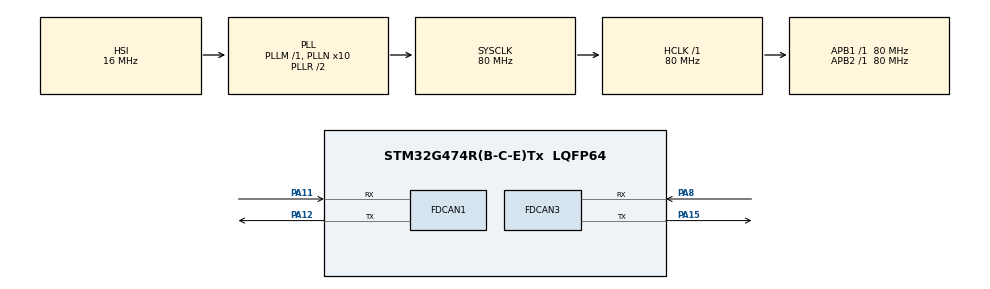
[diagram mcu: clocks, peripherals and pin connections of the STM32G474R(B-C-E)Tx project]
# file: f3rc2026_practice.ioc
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FDCAN1.CalculateBaudRateNominal=1000000
FDCAN1.CalculateTimeBitNominal=1000
FDCAN1.CalculateTimeQuantumNominal=50.0
FDCAN1.DataPrescaler=2
FDCAN1.DataTimeSeg1=15
FDCAN1.DataTimeSeg2=4
FDCAN1.FrameFormat=FDCAN_FRAME_FD_BRS
FDCAN1.NominalPrescaler=4
FDCAN1.NominalTimeSeg1=15
FDCAN1.NominalTimeSeg2=4
FDCAN1.StdFiltersNbr=1
FDCAN3.CalculateBaudRateNominal=1000000
FDCAN3.CalculateTimeBitNominal=1000
FDCAN3.CalculateTimeQuantumNominal=50.0
FDCAN3.DataPrescaler=2
FDCAN3.DataTimeSeg1=15
FDCAN3.DataTimeSeg2=4
FDCAN3.FrameFormat=FDCAN_FRAME_FD_BRS
FDCAN3.NominalPrescaler=4
FDCAN3.NominalTimeSeg1=15
FDCAN3.NominalTimeSeg2=4
FDCAN3.StdFiltersNbr=1
Mcu.Family=STM32G4
Mcu.Name=STM32G474R(B-C-E)Tx
Mcu.Package=LQFP64
NVIC.FDCAN1_IT0_IRQn=true\:0\:0\:false\:false\:true\:true\:true\:true
NVIC.FDCAN1_IT1_IRQn=true\:0\:0\:false\:false\:true\:true\:true\:true
NVIC.FDCAN3_IT0_IRQn=true\:0\:0\:false\:false\:true\:true\:true\:true
NVIC.FDCAN3_IT1_IRQn=true\:0\:0\:false\:false\:true\:true\:true\:true
NVIC.PriorityGroup=NVIC_PRIORITYGROUP_4
NVIC.TIM6_DAC_IRQn=true\:0\:0\:false\:false\:true\:true\:true\:true
PA11.Mode=FDCAN_Activate
PA11.Signal=FDCAN1_RX
PA12.Mode=FDCAN_Activate
PA12.Signal=FDCAN1_TX
PA15.Mode=FDCAN_Activate
PA15.Signal=FDCAN3_TX
PA8.Mode=FDCAN_Activate
PA8.Signal=FDCAN3_RX
ProjectManager.HeapSize=0x200
ProjectManager.StackSize=0x400
ProjectManager.TargetToolchain=CMake
RCC.ADC12Freq_Value=80000000
RCC.ADC345Freq_Value=80000000
RCC.AHBFreq_Value=80000000
RCC.APB1Freq_Value=80000000
RCC.APB1TimFreq_Value=80000000
RCC.APB2Freq_Value=80000000
RCC.APB2TimFreq_Value=80000000
RCC.CortexFreq_Value=80000000
RCC.EXTERNAL_CLOCK_VALUE=12288000
RCC.HCLKFreq_Value=80000000
RCC.HSE_VALUE=8000000
RCC.HSI48_VALUE=48000000
RCC.HSI_VALUE=16000000
RCC.LSE_VALUE=32768
RCC.PLLN=10
RCC.SYSCLKFreq_VALUE=80000000
RCC.SYSCLKSource=RCC_SYSCLKSOURCE_PLLCLK
RCC.USBFreq_Value=80000000
RCC.VCOOutputFreq_Value=160000000
TIM6.PeriodNoDither=999
TIM6.Prescaler=79
VP_SYS_VS_DBSignals.Mode=DisableDeadBatterySignals
VP_TIM6_VS_ClockSourceINT.Mode=Enable_Timer
board=custom

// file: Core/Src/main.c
/* USER CODE BEGIN Header */
/**
  ******************************************************************************
  * @file           : main.c
  * @brief          : Main program body
  ******************************************************************************
  * @attention
  *
  * Copyright (c) 2026 STMicroelectronics.
  * All rights reserved.
  *
  * This software is licensed under terms that can be found in the LICENSE file
  * in the root directory of this software component.
  * If no LICENSE file comes with this software, it is provided AS-IS.
  *
  ******************************************************************************
  */
/* USER CODE END Header */
#include "main.h"

/* USER CODE BEGIN Includes */
#include <stdio.h>
#include <math.h>
/* USER CODE END Includes */

/* USER CODE BEGIN PD */
#define INV_SQRT_2 0.70710678f // √2分の１の定義
#define CAN_ID_YAW 0x103 //IMU基盤からの角度を受け取るCANID
#define CAN_ID_CONTROLLER 0x105 //ESP32からの速度指令を受け取るCANID

#define PI 3.14159265358979323846f
/* USER CODE END PD */

FDCAN_HandleTypeDef hfdcan1;
FDCAN_HandleTypeDef hfdcan3;

TIM_HandleTypeDef htim6;

/* USER CODE BEGIN PV */
//ESP32からの速度指令を受け取るための変数
volatile float Vx = 0.0f;
volatile float Vy = 0.0f;
volatile float omega = 0.0f;

//車体中心からオムニまでの長さ
const float R = 0.35f;

//IMU基盤からの角度を受け取るための変数→sin cosの計算に使う
volatile float yaw_rx = 0.0f;
volatile float sin_yawminus = 0.0f;
volatile float cos_yawminus = 0.0f;
volatile float sin_yawplus = 0.0f;
volatile float cos_yawplus = 0.0f;

// //ESP32からの速度指令を受け取るための箱
// char rxBuf[64];
// volatile uint8_t rxFlag = 0; // 受信完了フラグ
// uint8_t rxChar; // 受信文字
// volatile uint8_t rxIndex = 0; // 受信箱のインデックス

//講習モーターのためのテキストヘッダー
FDCAN_TxHeaderTypeDef TxHeader_motor;
FDCAN_TxHeaderTypeDef TxHeader_IMU;

//モーター変数　反時計回りに右上からABCD
float motor_speed_A = 0.0f;
float motor_speed_B = 0.0f;
float motor_speed_C = 0.0f;
float motor_speed_D = 0.0f;

//電流地
uint8_t TxData[8];

//PID制御のための変数
typedef struct {
  uint16_t CANID;
  float trgVel;
  int16_t actVel;
  int16_t p_actVel;
  float hensa;
  float ind;
  int16_t cu;
} Robomas_t;
Robomas_t robomas[4];

/* USER CODE END PV */

void SystemClock_Config(void);
static void MX_GPIO_Init(void);
static void MX_TIM6_Init(void);
static void MX_FDCAN3_Init(void);
static void MX_FDCAN1_Init(void);
/* USER CODE BEGIN PFP */
void OmniKinematics(void);
void SendMotorCurrent(int16_t current_A, int16_t current_B, int16_t current_C, int16_t current_D);
HAL_StatusTypeDef interboard_comms_CAN_RxTxSettings_init(FDCAN_TxHeaderTypeDef *Htxheader);
void interboard_comms_CAN_filter_init(FDCAN_FilterTypeDef *Hfdcan_Filter_Settings);
void interboard_comms_CAN_txheader_init(FDCAN_TxHeaderTypeDef *Htxheader);
void u8_to_float(uint8_t *req, float *des, uint32_t uint8_len);
/* USER CODE END PFP */

/* USER CODE BEGIN 0 */

// CAN_SEND(0x7FE, TxData, &hfdcan1, &TxHeader); // example usage
HAL_StatusTypeDef CAN_SEND(uint32_t CANID, uint8_t *txdata, FDCAN_HandleTypeDef *hfdcan, FDCAN_TxHeaderTypeDef *htxheader)
{
  htxheader->Identifier = CANID;
  if (HAL_OK != HAL_FDCAN_AddMessageToTxFifoQ(hfdcan, htxheader, txdata))
  {
    printf("addmessage error\r\n");
    return HAL_ERROR;
  }
  return HAL_OK;
}

void motor_CAN_filter_init(FDCAN_FilterTypeDef *Hfdcan_Filter_Settings)
{
  Hfdcan_Filter_Settings->IdType = FDCAN_STANDARD_ID;
  Hfdcan_Filter_Settings->FilterIndex = 0;
  Hfdcan_Filter_Settings->FilterType = FDCAN_FILTER_RANGE;
  Hfdcan_Filter_Settings->FilterConfig = FDCAN_FILTER_TO_RXFIFO0;
  Hfdcan_Filter_Settings->FilterID1 = 0x200;
  Hfdcan_Filter_Settings->FilterID2 = 0x410;
}

void motor_CAN_txheader_init(FDCAN_TxHeaderTypeDef *Htxheader)
{
  Htxheader->Identifier = 0x200;
  Htxheader->IdType = FDCAN_STANDARD_ID;
  Htxheader->TxFrameType = FDCAN_DATA_FRAME;
  Htxheader->DataLength = FDCAN_DLC_BYTES_8;
  Htxheader->ErrorStateIndicator = FDCAN_ESI_ACTIVE;
  Htxheader->FDFormat = FDCAN_CLASSIC_CAN;
  Htxheader->BitRateSwitch = FDCAN_BRS_ON;
  Htxheader->TxEventFifoControl = FDCAN_NO_TX_EVENTS;
  Htxheader->MessageMarker = 0;
}

HAL_StatusTypeDef motor_CAN_RxTxSettings_init(FDCAN_TxHeaderTypeDef *Htxheader)

{
  FDCAN_FilterTypeDef FDCAN_Filter_settings;
  motor_CAN_filter_init(&FDCAN_Filter_settings);
  motor_CAN_txheader_init(Htxheader);
  if (HAL_OK != HAL_FDCAN_ConfigFilter(&hfdcan3, &FDCAN_Filter_settings))
  {
    printf("fdcan_configfilter is error\r\n");
    return HAL_ERROR;
  }
  if (HAL_OK != HAL_FDCAN_ConfigGlobalFilter(&hfdcan3, FDCAN_REJECT, FDCAN_FILTER_REJECT, FDCAN_FILTER_REMOTE, FDCAN_FILTER_REMOTE))
  {
    printf("fdcan_configglobalfilter is error\r\n");
    return HAL_ERROR;
  }
  if (HAL_OK != HAL_FDCAN_Start(&hfdcan3))
  {
    printf("fdcan_start is error\r\n");
    return HAL_ERROR;
  }
  if (HAL_OK != HAL_FDCAN_ActivateNotification(&hfdcan3, FDCAN_IT_RX_FIFO0_NEW_MESSAGE, 0))
  {
    printf("fdcan_activatenotification is error\r\n");
    return HAL_ERROR;
  }

  return HAL_OK;
}

HAL_StatusTypeDef interboard_comms_CAN_RxTxSettings_init(FDCAN_TxHeaderTypeDef *Htxheader)
{
  FDCAN_FilterTypeDef FDCAN_Filter_settings;
  interboard_comms_CAN_filter_init(&FDCAN_Filter_settings);
  interboard_comms_CAN_txheader_init(Htxheader);
  if (HAL_OK != HAL_FDCAN_ConfigFilter(&hfdcan1, &FDCAN_Filter_settings))
  {
    printf("fdcan_configfilter is error\r\n");
    return HAL_ERROR;
  }
  if (HAL_OK != HAL_FDCAN_ConfigGlobalFilter(&hfdcan1, FDCAN_REJECT, FDCAN_FILTER_REJECT, FDCAN_FILTER_REMOTE, FDCAN_FILTER_REMOTE))
  {
    printf("fdcan_configglobalfilter is error\r\n");
    return HAL_ERROR;
  }
  if (HAL_OK != HAL_FDCAN_Start(&hfdcan1))
  {
    printf("fdcan_start is error\r\n");
    return HAL_ERROR;
  }
  if (HAL_OK != HAL_FDCAN_ActivateNotification(&hfdcan1, FDCAN_IT_RX_FIFO1_NEW_MESSAGE, 0))
  {
    printf("fdcan_activatenotification is error\r\n");
    return HAL_ERROR;
  }

  return HAL_OK;
}

void HAL_FDCAN_RxFifo0Callback(FDCAN_HandleTypeDef *hfdcan, uint32_t RxFifo0ITs){
 	if ((RxFifo0ITs & FDCAN_IT_RX_FIFO0_NEW_MESSAGE) != RESET) {

    /* Retrieve Rx messages from RX FIFO0 */
		uint8_t RxData_motor[8] = {};
    FDCAN_RxHeaderTypeDef RxHeader_motor;
 		if (HAL_OK != HAL_FDCAN_GetRxMessage(&hfdcan3, FDCAN_RX_FIFO0, &RxHeader_motor, RxData_motor)) {
 			printf("fdcan_getrxmessage_motor is error\r\n");
 			Error_Handler();
 		}
		/*receive robomas's status*/
 		for (int i=0; i < 4; i++){
 			if (RxHeader_motor.Identifier == (robomas[i].CANID)) {
 				//robomas[i].actangle = (int16_t)((RxData_motor[0] << 8) | RxData_motor[1]);
 				robomas[i].actVel = (int16_t)((RxData_motor[2] << 8) | RxData_motor[3]);
 				//robomas[i].actCurrent = (int16_t)((RxData_motor[4] << 8) | RxData_motor[5]);
 			}
 		}
 	}
}

void HAL_FDCAN_RxFifo1Callback(FDCAN_HandleTypeDef *hfdcan,
                               uint32_t RxFifo1ITs)
{
    if (RxFifo1ITs & FDCAN_IT_RX_FIFO1_NEW_MESSAGE)
    {
        uint8_t RxData[64];
        FDCAN_RxHeaderTypeDef RxHeader;
        if (HAL_FDCAN_GetRxMessage(
                hfdcan,
                FDCAN_RX_FIFO1,
                &RxHeader,
                RxData) != HAL_OK)
        {
            Error_Handler();
        }
        switch (RxHeader.Identifier)
        {
            case CAN_ID_YAW:
            {
                u8_to_float(RxData, (float*)&yaw_rx, 4);
                // yaw_rxに受信値が入る
                yaw_rx = yaw_rx * (PI / 180.0f); // 角度をラジアンに変換
                sin_yawplus = sinf(yaw_rx+PI/4.0f);
                sin_yawminus = sinf(yaw_rx-PI/4.0f);
                cos_yawplus = cosf(yaw_rx+PI/4.0f);
                cos_yawminus = cosf(yaw_rx-PI/4.0f);
                break;
            }
            case CAN_ID_CONTROLLER:
            {
                // 速度指令を受信した場合の処理
                Vx = ((int8_t)RxData[0]) / 128.0f;
                Vy = ((int8_t)RxData[1]) / 128.0f;
                omega = ((int8_t)RxData[2]) / 128.0f;

                break;
            }
            default:
                break;
        }
    }
}

void HAL_TIM_PeriodElapsedCallback(TIM_HandleTypeDef *htim){

	if (&htim6 == htim) {
		float k_p = 7, k_i = 0.5, k_d = 0.1;
		for (int i = 0; i < 4; i++){
			robomas[i].hensa = robomas[i].trgVel - robomas[i].actVel;
			if (robomas[i].hensa >= 1000) robomas[i].hensa = 1000;
			else if (robomas[i].hensa <= -1000) robomas[i].hensa = -1000;
			float d = (robomas[i].p_actVel - robomas[i].actVel) / 0.001f;
			robomas[i].ind += robomas[i].hensa*0.001f;
			if (d >= 30000) d = 30000;
			else if (d <= -30000) d = -30000;
			if (robomas[i].ind >= 10000) robomas[i].ind = 10000;
			else if (robomas[i].ind <= -10000) robomas[i].ind = -10000;

			float t = k_p*robomas[i].hensa;
			if (t>=10000) t = 10000;
			else if (t<=-10000) t = -10000;
			robomas[i].cu = (int16_t)(t+k_i*robomas[i].ind+k_d*d);
			if (robomas[i].cu <= -10000) robomas[i].cu = -10000;
			else if (robomas[i].cu >= 10000) robomas[i].cu = 10000;

			robomas[i].p_actVel = robomas[i].actVel;

		}
    SendMotorCurrent(robomas[0].cu, robomas[1].cu, robomas[2].cu, robomas[3].cu);
	}
}
/* USER CODE END 0 */

int main(void)
{

  /* MCU Configuration--------------------------------------------------------*/

  /* Reset of all peripherals, Initializes the Flash interface and the Systick. */
  HAL_Init();

  /* Configure the system clock */
  SystemClock_Config();

  /* Initialize all configured peripherals */
  MX_GPIO_Init();
  MX_TIM6_Init();
  MX_FDCAN3_Init();
  MX_FDCAN1_Init();
  /* USER CODE BEGIN 2 */
  HAL_TIM_Base_Start_IT(&htim6); // Start TIM6 in interrupt mode
  //講習にて導入
  __HAL_RCC_CLEAR_RESET_FLAGS(); // Clear reset flags
  if (HAL_OK != motor_CAN_RxTxSettings_init(&TxHeader_motor)) Error_Handler();
  if (HAL_OK != interboard_comms_CAN_RxTxSettings_init(&TxHeader_IMU)) Error_Handler();
  //モーターのCANIDを設定
  robomas[0].CANID = 0x201;
  robomas[1].CANID = 0x202;
  robomas[2].CANID = 0x203;
  robomas[3].CANID = 0x204;
  //一応初期化
  for (int i = 0; i < 4; i++){
    robomas[i].trgVel = 0;
    robomas[i].actVel = 0;
    robomas[i].p_actVel = 0;
    robomas[i].hensa = 0;
    robomas[i].ind = 0;
    robomas[i].cu = 0;
  }

  /* USER CODE END 2 */

  /* Infinite loop */
  /* USER CODE BEGIN WHILE */
  while (1)
  {
  // Vx = 0.0f;
  // Vy = 0.0f;
  // omega = 1.0f;

  // sin_yawplus = sinf(0+PI/4.0f);
  // sin_yawminus = sinf(0-PI/4.0f);
  // cos_yawplus = cosf(0+PI/4.0f);
  // cos_yawminus = cosf(0-PI/4.0f);
    /*uint8_t txdata[8] = {0 ,1 ,2,3,4,5,6,7}; // Example data to send
    int16_t cu = 842; // Example current value
    txdata[0] = (uint8_t)(cu >> 8);
    txdata[1] = (uint8_t)(cu & 0xFF);
    txdata[2] = (uint8_t)(cu >> 8);
    txdata[3] = (uint8_t)(cu & 0xFF);
    txdata[4] = (uint8_t)(cu >> 8);
    txdata[5] = (uint8_t)(cu & 0xFF);
    txdata[6] = (uint8_t)(cu >> 8);
    txdata[7] = (uint8_t)(cu & 0xFF);
    CAN_SEND(0x200, txdata, &hfdcan3, &TxHeader_motor); // Send CAN message
    HAL_Delay(100);
    */
   OmniKinematics();
   HAL_Delay(100);

    /* USER CODE END WHILE */

  }
}

void SystemClock_Config(void)
{
  RCC_OscInitTypeDef RCC_OscInitStruct = {0};
  RCC_ClkInitTypeDef RCC_ClkInitStruct = {0};

  /** Configure the main internal regulator output voltage
  */
  HAL_PWREx_ControlVoltageScaling(PWR_REGULATOR_VOLTAGE_SCALE1);

  /** Initializes the RCC Oscillators according to the specified parameters
  * in the RCC_OscInitTypeDef structure.
  */
  RCC_OscInitStruct.OscillatorType = RCC_OSCILLATORTYPE_HSI;
  RCC_OscInitStruct.HSIState = RCC_HSI_ON;
  RCC_OscInitStruct.HSICalibrationValue = RCC_HSICALIBRATION_DEFAULT;
  RCC_OscInitStruct.PLL.PLLState = RCC_PLL_ON;
  RCC_OscInitStruct.PLL.PLLSource = RCC_PLLSOURCE_HSI;
  RCC_OscInitStruct.PLL.PLLM = RCC_PLLM_DIV1;
  RCC_OscInitStruct.PLL.PLLN = 10;
  RCC_OscInitStruct.PLL.PLLP = RCC_PLLP_DIV2;
  RCC_OscInitStruct.PLL.PLLQ = RCC_PLLQ_DIV2;
  RCC_OscInitStruct.PLL.PLLR = RCC_PLLR_DIV2;
  if (HAL_RCC_OscConfig(&RCC_OscInitStruct) != HAL_OK)
  {
    Error_Handler();
  }

  /** Initializes the CPU, AHB and APB buses clocks
  */
  RCC_ClkInitStruct.ClockType = RCC_CLOCKTYPE_HCLK|RCC_CLOCKTYPE_SYSCLK
                              |RCC_CLOCKTYPE_PCLK1|RCC_CLOCKTYPE_PCLK2;
  RCC_ClkInitStruct.SYSCLKSource = RCC_SYSCLKSOURCE_PLLCLK;
  RCC_ClkInitStruct.AHBCLKDivider = RCC_SYSCLK_DIV1;
  RCC_ClkInitStruct.APB1CLKDivider = RCC_HCLK_DIV1;
  RCC_ClkInitStruct.APB2CLKDivider = RCC_HCLK_DIV1;

  if (HAL_RCC_ClockConfig(&RCC_ClkInitStruct, FLASH_LATENCY_2) != HAL_OK)
  {
    Error_Handler();
  }
}

static void MX_FDCAN1_Init(void)
{

  hfdcan1.Instance = FDCAN1;
  hfdcan1.Init.ClockDivider = FDCAN_CLOCK_DIV1;
  hfdcan1.Init.FrameFormat = FDCAN_FRAME_FD_BRS;
  hfdcan1.Init.Mode = FDCAN_MODE_NORMAL;
  hfdcan1.Init.AutoRetransmission = DISABLE;
  hfdcan1.Init.TransmitPause = DISABLE;
  hfdcan1.Init.ProtocolException = DISABLE;
  hfdcan1.Init.NominalPrescaler = 4;
  hfdcan1.Init.NominalSyncJumpWidth = 1;
  hfdcan1.Init.NominalTimeSeg1 = 15;
  hfdcan1.Init.NominalTimeSeg2 = 4;
  hfdcan1.Init.DataPrescaler = 2;
  hfdcan1.Init.DataSyncJumpWidth = 1;
  hfdcan1.Init.DataTimeSeg1 = 15;
  hfdcan1.Init.DataTimeSeg2 = 4;
  hfdcan1.Init.StdFiltersNbr = 1;
  hfdcan1.Init.ExtFiltersNbr = 0;
  hfdcan1.Init.TxFifoQueueMode = FDCAN_TX_FIFO_OPERATION;
  if (HAL_FDCAN_Init(&hfdcan1) != HAL_OK)
  {
    Error_Handler();
  }

}

static void MX_FDCAN3_Init(void)
{

  hfdcan3.Instance = FDCAN3;
  hfdcan3.Init.ClockDivider = FDCAN_CLOCK_DIV1;
  hfdcan3.Init.FrameFormat = FDCAN_FRAME_FD_BRS;
  hfdcan3.Init.Mode = FDCAN_MODE_NORMAL;
  hfdcan3.Init.AutoRetransmission = DISABLE;
  hfdcan3.Init.TransmitPause = DISABLE;
  hfdcan3.Init.ProtocolException = DISABLE;
  hfdcan3.Init.NominalPrescaler = 4;
  hfdcan3.Init.NominalSyncJumpWidth = 1;
  hfdcan3.Init.NominalTimeSeg1 = 15;
  hfdcan3.Init.NominalTimeSeg2 = 4;
  hfdcan3.Init.DataPrescaler = 2;
  hfdcan3.Init.DataSyncJumpWidth = 1;
  hfdcan3.Init.DataTimeSeg1 = 15;
  hfdcan3.Init.DataTimeSeg2 = 4;
  hfdcan3.Init.StdFiltersNbr = 1;
  hfdcan3.Init.ExtFiltersNbr = 0;
  hfdcan3.Init.TxFifoQueueMode = FDCAN_TX_FIFO_OPERATION;
  if (HAL_FDCAN_Init(&hfdcan3) != HAL_OK)
  {
    Error_Handler();
  }

}

static void MX_TIM6_Init(void)
{

  TIM_MasterConfigTypeDef sMasterConfig = {0};

  htim6.Instance = TIM6;
  htim6.Init.Prescaler = 79;
  htim6.Init.CounterMode = TIM_COUNTERMODE_UP;
  htim6.Init.Period = 999;
  htim6.Init.AutoReloadPreload = TIM_AUTORELOAD_PRELOAD_DISABLE;
  if (HAL_TIM_Base_Init(&htim6) != HAL_OK)
  {
    Error_Handler();
  }
  sMasterConfig.MasterOutputTrigger = TIM_TRGO_RESET;
  sMasterConfig.MasterSlaveMode = TIM_MASTERSLAVEMODE_DISABLE;
  if (HAL_TIMEx_MasterConfigSynchronization(&htim6, &sMasterConfig) != HAL_OK)
  {
    Error_Handler();
  }

}

static void MX_GPIO_Init(void)
{

  /* GPIO Ports Clock Enable */
  __HAL_RCC_GPIOA_CLK_ENABLE();

}

/* USER CODE BEGIN 4 */

//運動学オムニ
void OmniKinematics(void){
  motor_speed_A = sin_yawplus * Vx - cos_yawplus * Vy - omega * R;
  motor_speed_B = - sin_yawminus * Vx + cos_yawminus * Vy - omega * R;
  motor_speed_C = - sin_yawplus * Vx + cos_yawplus * Vy - omega * R;
  motor_speed_D = sin_yawminus * Vx - cos_yawminus * Vy - omega * R;
  //正規化
  float max_speed = fabsf(motor_speed_A);
  if (fabsf(motor_speed_B) > max_speed) {max_speed = fabsf(motor_speed_B);}
  if (fabsf(motor_speed_C) > max_speed) {max_speed = fabsf(motor_speed_C);}
  if (fabsf(motor_speed_D) > max_speed) {max_speed = fabsf(motor_speed_D);}
  if (max_speed > 1.0f) {
    motor_speed_A /= max_speed;
    motor_speed_B /= max_speed;
    motor_speed_C /= max_speed;
    motor_speed_D /= max_speed;
  }
  //PIDにtrgVelを渡す
  robomas[0].trgVel = motor_speed_A*3000;
  robomas[1].trgVel = motor_speed_B*3000;
  robomas[2].trgVel = motor_speed_C*3000;
  robomas[3].trgVel = motor_speed_D*3000;
}

// //ESP32からの速度指令を受け取るためのUART割り込みコールバック関数
// void HAL_UART_RxCpltCallback(UART_HandleTypeDef *huart) {
//   if (huart->Instance == USART2) { // Check if the interrupt is from USART2
//     if (rxChar == '\n') { // Check for newline character
//       rxBuf[rxIndex] = '\0'; // Null-terminate the string
//       rxFlag = 1; // Set the flag to indicate a complete command has been received
//       rxIndex = 0; // Reset index for next command
//     } else {
//       rxBuf[rxIndex++] = rxChar; // Store received character and increment index

//       if (rxIndex >= sizeof(rxBuf) - 1) { // Prevent buffer overflow
//         rxIndex = 0; // Reset index if buffer is full
//       }
//     }
//     HAL_UART_Receive_IT(&huart2, &rxChar, 1); // Restart UART reception in interrupt mode
//   }
// }

//電流値の送信関数
void SendMotorCurrent(
    int16_t current_A,
    int16_t current_B,
    int16_t current_C,
    int16_t current_D)
{
    TxData[0] = (current_A >> 8) & 0xFF;
    TxData[1] = current_A & 0xFF;

    TxData[2] = (current_B >> 8) & 0xFF;
    TxData[3] = current_B & 0xFF;

    TxData[4] = (current_C >> 8) & 0xFF;
    TxData[5] = current_C & 0xFF;

    TxData[6] = (current_D >> 8) & 0xFF;
    TxData[7] = current_D & 0xFF;

    CAN_SEND(
        0x200,
        TxData,
        &hfdcan3,
        &TxHeader_motor
    );
}

void interboard_comms_CAN_filter_init(FDCAN_FilterTypeDef *Hfdcan_Filter_Settings)
{
  Hfdcan_Filter_Settings->IdType = FDCAN_STANDARD_ID;
  Hfdcan_Filter_Settings->FilterIndex = 0;
  Hfdcan_Filter_Settings->FilterType = FDCAN_FILTER_RANGE;
  Hfdcan_Filter_Settings->FilterConfig = FDCAN_FILTER_TO_RXFIFO1;
  Hfdcan_Filter_Settings->FilterID1 = 0x00;
  Hfdcan_Filter_Settings->FilterID2 = 0x7ff;
}

void interboard_comms_CAN_txheader_init(FDCAN_TxHeaderTypeDef *Htxheader)
{
  Htxheader->Identifier = 0x00;
  Htxheader->IdType = FDCAN_STANDARD_ID;
  Htxheader->TxFrameType = FDCAN_DATA_FRAME;
  Htxheader->DataLength = FDCAN_DLC_BYTES_8;
  Htxheader->ErrorStateIndicator = FDCAN_ESI_ACTIVE;
  Htxheader->FDFormat = FDCAN_FD_CAN;
  Htxheader->BitRateSwitch = FDCAN_BRS_ON;
  Htxheader->TxEventFifoControl = FDCAN_NO_TX_EVENTS;
  Htxheader->MessageMarker = 0;
}

//受信用
void u8_to_float(uint8_t *req, float *des, uint32_t uint8_len)
{
  union IntAndFloat {
    uint32_t ival;
    float fval;
  };
  for(int i = 0; i < uint8_len/4; i++){
    uint32_t f32_u32 = ((req[i*4] << 24) | (req[i*4+1] << 16) | (req[i*4+2] << 8) | (req[i*4+3]));
    union IntAndFloat target;
    target.ival = f32_u32;
    des[i] = target.fval;
  }
}

/* USER CODE END 4 */

void Error_Handler(void)
{
  __disable_irq();
  while (1)
  {
  }
}
